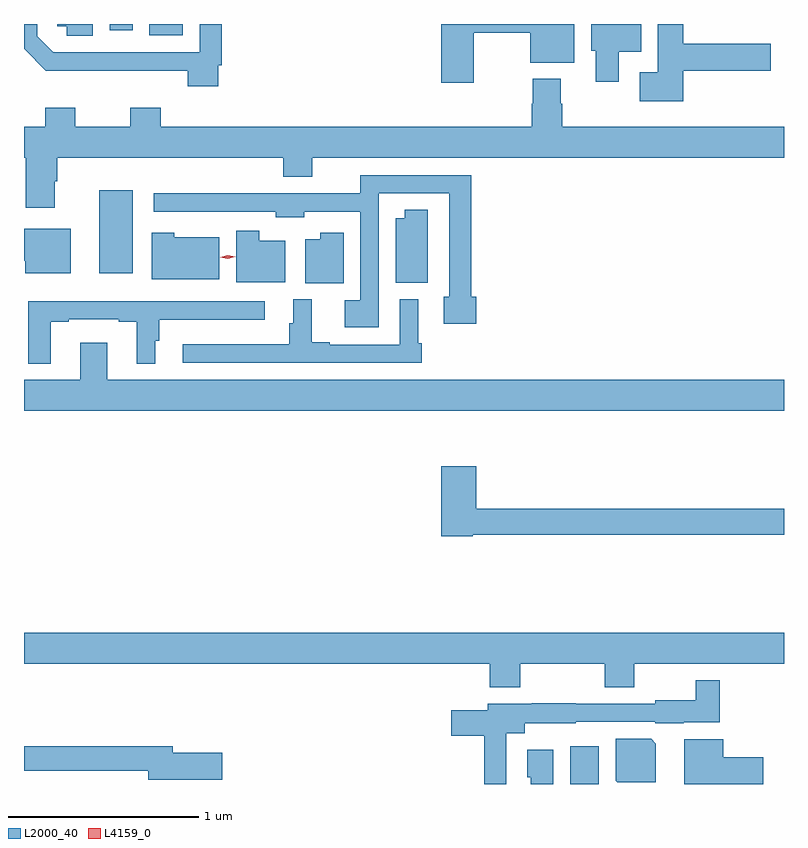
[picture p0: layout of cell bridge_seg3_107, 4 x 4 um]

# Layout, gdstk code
import gdstk
lib = gdstk.Library(unit=1e-6, precision=1e-09)
def R(c, l, rs):  # rectangles x0, y0, x1, y1
    for r in rs: c.add(gdstk.rectangle(r[:2], r[2:], *l))
def P(c, l, *ps):  # polygons
    for p in ps: c.add(gdstk.Polygon(p, *l))
L2000_40 = (2000, 40)
L4159_0 = (4159, 0)

bridge_seg3_107 = lib.new_cell('bridge_seg3_107')
R(bridge_seg3_107, L2000_40, [(641.756,712.272,641.908,712.471), (639.278,714.959,639.454,715.396), (639.542,716.213,639.718,716.272), (639.332,716.238,639.454,716.272)])
P(bridge_seg3_107, L2000_40, [(642.013,716.126),(642.13,716.126),(642.13,716.272),(641.867,716.272),(641.867,716.13),(641.891,716.13),(641.891,715.968),(642.013,715.968)],
  [(641.248,716.227),(641.546,716.227),(641.546,716.069),(641.779,716.069),(641.779,716.272),(641.078,716.272),(641.078,715.962),(641.248,715.962)],
  [(639.244,716.272),(639.056,716.272),(639.056,716.259),(639.108,716.259),(639.108,716.209),(639.244,716.209)],
  [(639.904,716.056),(639.923,716.056),(639.923,716.272),(639.807,716.272),(639.807,716.124),(639.036,716.124),(638.952,716.208),(638.952,716.272),(638.882,716.272),(638.882,716.142),(638.997,716.027),(639.743,716.027),(639.743,715.944),(639.904,715.944)],
  [(642.353,716.026),(642.811,716.026),(642.811,716.168),(642.353,716.168),(642.353,716.272),(642.218,716.272),(642.218,716.017),(642.123,716.017),(642.123,715.865),(642.353,715.865)],
  [(639.043,715.445),(639.056,715.445),(639.056,715.568),(640.247,715.568),(640.247,715.469),(640.399,715.469),(640.399,715.568),(642.882,715.568),(642.882,715.732),(641.715,715.732),(641.715,715.853),(641.707,715.853),(641.707,715.984),(641.56,715.984),(641.56,715.853),(641.555,715.853),(641.555,715.732),(639.602,715.732),(639.602,715.831),(639.442,715.831),(639.442,715.732),(639.153,715.732),(639.153,715.831),(638.993,715.831),(638.993,715.732),(638.882,715.732),(638.882,715.568),(638.891,715.568),(638.891,715.305),(639.043,715.305)],
  [(640.749,715.379),(640.75,715.379),(640.75,715.38),(641.121,715.38),(641.121,714.836),(641.09,714.836),(641.09,714.694),(641.261,714.694),(641.261,714.836),(641.237,714.836),(641.237,715.476),(640.651,715.476),(640.651,715.382),(639.564,715.382),(639.564,715.283),(639.902,715.283),(639.902,715.284),(640.206,715.284),(640.206,715.256),(640.356,715.256),(640.356,715.284),(640.653,715.284),(640.653,714.817),(640.569,714.817),(640.569,714.677),(640.749,714.677)],
  [(641.008,715.295),(640.886,715.295),(640.886,715.249),(640.838,715.249),(640.838,714.911),(641.008,714.911)],
  [(639.127,715.195),(638.882,715.195),(638.882,715.025),(638.888,715.025),(638.888,714.959),(639.127,714.959)],
  [(640.258,715.132),(640.12,715.132),(640.12,715.183),(639.998,715.183),(639.998,714.914),(640.258,714.914)],
  [(640.564,715.174),(640.442,715.174),(640.442,715.138),(640.361,715.138),(640.361,714.908),(640.564,714.908)],
  [(639.91,715.15),(639.672,715.15),(639.672,715.174),(639.554,715.174),(639.554,714.929),(639.91,714.929)],
  [(640.976,714.592),(640.957,714.592),(640.957,714.823),(640.86,714.823),(640.86,714.585),(640.492,714.585),(640.492,714.598),(640.396,714.598),(640.396,714.823),(640.298,714.823),(640.298,714.696),(640.279,714.696),(640.279,714.586),(639.717,714.586),(639.717,714.489),(640.976,714.489)],
  [(639.022,714.705),(639.118,714.705),(639.118,714.717),(639.38,714.717),(639.38,714.705),(639.476,714.705),(639.476,714.485),(639.574,714.485),(639.574,714.606),(639.593,714.606),(639.593,714.716),(640.15,714.716),(640.15,714.813),(639.45,714.813),(639.45,714.814),(638.905,714.814),(638.905,714.485),(639.022,714.485)],
  [(642.882,714.4),(639.319,714.4),(639.319,714.595),(639.179,714.595),(639.179,714.4),(638.882,714.4),(638.882,714.236),(642.882,714.236)],
  [(641.244,713.584),(642.882,713.584),(642.882,713.72),(641.261,713.72),(641.261,713.944),(641.078,713.944),(641.078,713.576),(641.244,713.576)],
  [(642.093,712.904),(642.882,712.904),(642.882,713.068),(638.882,713.068),(638.882,712.904),(641.333,712.904),(641.333,712.781),(641.493,712.781),(641.493,712.904),(641.938,712.904),(641.938,712.78),(642.093,712.78)],
  [(641.421,712.538),(641.518,712.538),(641.518,712.592),(641.787,712.592),(641.787,712.599),(642.204,712.599),(642.204,712.592),(642.354,712.592),(642.354,712.598),(642.545,712.598),(642.545,712.819),(642.417,712.819),(642.417,712.714),(642.204,712.714),(642.204,712.695),(641.787,712.695),(641.787,712.697),(641.555,712.697),(641.555,712.695),(641.324,712.695),(641.324,712.66),(641.13,712.66),(641.13,712.526),(641.305,712.526),(641.305,712.272),(641.421,712.272)],
  [(642.208,712.484),(642.182,712.51),(641.996,712.51),(641.996,712.288),(642.004,712.28),(642.208,712.28)],
  [(642.772,712.412),(642.562,712.412),(642.562,712.508),(642.356,712.508),(642.356,712.272),(642.772,712.272)],
  [(639.925,712.437),(639.664,712.437),(639.664,712.471),(638.882,712.471),(638.882,712.342),(639.536,712.342),(639.536,712.295),(639.925,712.295)],
  [(641.668,712.453),(641.531,712.453),(641.531,712.308),(641.549,712.308),(641.549,712.272),(641.668,712.272)])
P(bridge_seg3_107, L4159_0, [(639.954,715.036),(639.914,715.045),(639.914,715.045),(639.914,715.045),(639.954,715.056),(639.994,715.046),(639.994,715.046),(639.994,715.046)])

lib.write_gds('bridge_seg3_107.gds')
